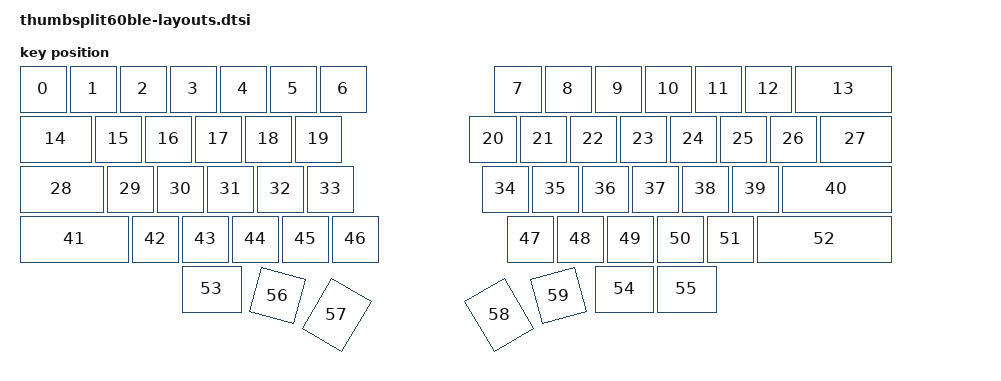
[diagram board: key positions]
/*
 * Copyright (c) 2024 Kazuyuki Arimatsu
 * SPDX-License-Identifier: MIT
 */

#include <physical_layouts.dtsi>

/ {
    default_physical_layout: physical_layout_0 {
        compatible = "zmk,physical-layout";
        display-name = "Default Layout";

        keys  //                     w   h    x    y     rot    rx    ry
            = <&key_physical_attrs 100 100    0    0       0     0     0>
            , <&key_physical_attrs 100 100  100    0       0     0     0>
            , <&key_physical_attrs 100 100  200    0       0     0     0>
            , <&key_physical_attrs 100 100  300    0       0     0     0>
            , <&key_physical_attrs 100 100  400    0       0     0     0>
            , <&key_physical_attrs 100 100  500    0       0     0     0>
            , <&key_physical_attrs 100 100  600    0       0     0     0>
            , <&key_physical_attrs 100 100  950    0       0     0     0>
            , <&key_physical_attrs 100 100 1050    0       0     0     0>
            , <&key_physical_attrs 100 100 1150    0       0     0     0>
            , <&key_physical_attrs 100 100 1250    0       0     0     0>
            , <&key_physical_attrs 100 100 1350    0       0     0     0>
            , <&key_physical_attrs 100 100 1450    0       0     0     0>
            , <&key_physical_attrs 200 100 1550    0       0     0     0>
            , <&key_physical_attrs 150 100    0  100       0     0     0>
            , <&key_physical_attrs 100 100  150  100       0     0     0>
            , <&key_physical_attrs 100 100  250  100       0     0     0>
            , <&key_physical_attrs 100 100  350  100       0     0     0>
            , <&key_physical_attrs 100 100  450  100       0     0     0>
            , <&key_physical_attrs 100 100  550  100       0     0     0>
            , <&key_physical_attrs 100 100  900  100       0     0     0>
            , <&key_physical_attrs 100 100 1000  100       0     0     0>
            , <&key_physical_attrs 100 100 1100  100       0     0     0>
            , <&key_physical_attrs 100 100 1200  100       0     0     0>
            , <&key_physical_attrs 100 100 1300  100       0     0     0>
            , <&key_physical_attrs 100 100 1400  100       0     0     0>
            , <&key_physical_attrs 100 100 1500  100       0     0     0>
            , <&key_physical_attrs 150 100 1600  100       0     0     0>
            , <&key_physical_attrs 175 100    0  200       0     0     0>
            , <&key_physical_attrs 100 100  175  200       0     0     0>
            , <&key_physical_attrs 100 100  275  200       0     0     0>
            , <&key_physical_attrs 100 100  375  200       0     0     0>
            , <&key_physical_attrs 100 100  475  200       0     0     0>
            , <&key_physical_attrs 100 100  575  200       0     0     0>
            , <&key_physical_attrs 100 100  925  200       0     0     0>
            , <&key_physical_attrs 100 100 1025  200       0     0     0>
            , <&key_physical_attrs 100 100 1125  200       0     0     0>
            , <&key_physical_attrs 100 100 1225  200       0     0     0>
            , <&key_physical_attrs 100 100 1325  200       0     0     0>
            , <&key_physical_attrs 100 100 1425  200       0     0     0>
            , <&key_physical_attrs 225 100 1525  200       0     0     0>
            , <&key_physical_attrs 225 100    0  300       0     0     0>
            , <&key_physical_attrs 100 100  225  300       0     0     0>
            , <&key_physical_attrs 100 100  325  300       0     0     0>
            , <&key_physical_attrs 100 100  425  300       0     0     0>
            , <&key_physical_attrs 100 100  525  300       0     0     0>
            , <&key_physical_attrs 100 100  625  300       0     0     0>
            , <&key_physical_attrs 100 100  975  300       0     0     0>
            , <&key_physical_attrs 100 100 1075  300       0     0     0>
            , <&key_physical_attrs 100 100 1175  300       0     0     0>
            , <&key_physical_attrs 100 100 1275  300       0     0     0>
            , <&key_physical_attrs 100 100 1375  300       0     0     0>
            , <&key_physical_attrs 275 100 1475  300       0     0     0>
            , <&key_physical_attrs 125 100  325  400       0     0     0>
            , <&key_physical_attrs 125 100 1150  400       0     0     0>
            , <&key_physical_attrs 125 100 1275  400       0     0     0>
            , <&key_physical_attrs 100 100  465  409    1500   500   475>
            , <&key_physical_attrs 125 100  440  470   12000   575   550>
            , <&key_physical_attrs 125 100 1035  470 (-12000)  1025   550>
            , <&key_physical_attrs 100 100 1035  409 (-1500)  1100   475>
            ;
    };
};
